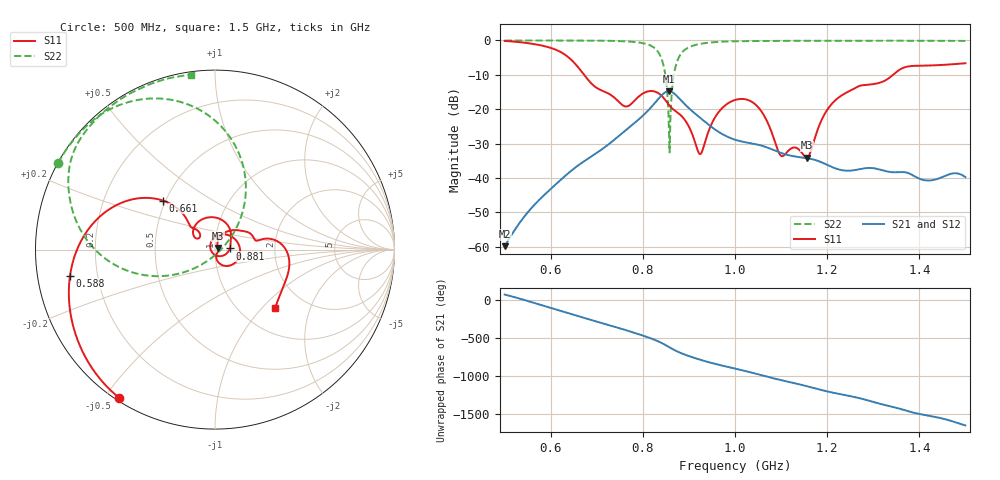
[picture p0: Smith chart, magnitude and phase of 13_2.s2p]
! TOUCHSTONE file generated by CST MICROWAVE STUDIO
! Date and time: Fri Oct  2 16:31:17 2020
! Project name: Scenario_1_Free_Space_out_of_line.cst
! Parameters = {Lambda=346.42; Step_1=17.321; dy1=139.548; dx1=346; L_HA=400; MT=2.54; Rad_Dielectric=30; Rad_Lower=7.3; Rad_Upper=30; a_HA=580; a_WG=246; b_HA=500; b_WG=121; c_HA=0; c_WG=187; d_feed=85; h_feed=15; h_lower=18; h_upper=40}
! Header version: 2018
! Port assignment regex: !\s*Touchstone port\s*([0-9]+)\s*=\s*(CST MWS port|CST DS port)\s*([0-9]+|Zmin|Zmax)\s*\(\"(.*)\"\)(\s*mode\s*([0-9]+))?.*
! Touchstone port assignment:
! Touchstone port 1 = CST MWS port 1 ("")
! Touchstone port 2 = CST MWS port 2 ("")
# GHz S DB R 50
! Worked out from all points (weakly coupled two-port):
!   1003 points, 500 MHz to 1.5 GHz, reference 50 ohm
!   highest |S21| = -14.75 dB at 856 MHz (marker M1); lowest = -59.9 dB at 500 MHz (marker M2)
!   lowest |S11| = -34.1 dB at 1.156 GHz (marker M3), VSWR 1.04, Z = 51.8 + j0.911 ohm
!   |S11| at or under -10 dB: 672.5 MHz to 1.343 GHz (670.4 MHz wide, 66.5 % of centre)
!   |S22| runs from -32.6 to 0.0 dB; largest |S21 - S12| = 1.4e-05
!   S11 on the Smith chart (normalised r, x): 500 MHz: 0.01, -0.55; 588 MHz: 0.10, -0.09; 661 MHz: 0.49, +0.31; 881 MHz: 1.18, +0.02; 1.5 GHz: 1.43, -1.18
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0.5  -0.15 -122.8  -59.85 72.7  -59.85 72.7  -0.01 151.1
0.588  -1.71 -169.8  -44.71 -81.3  -44.71 -81.3  -0.02 145.0
0.661  -8.03 136.6  -36.23 145.4  -36.23 145.4  -0.04 138.9
0.667  -9.05 134.0  -35.66 134.3  -35.66 134.3  -0.04 138.3
0.761  -19.17 139.9  -26.34 -32.9  -26.34 -32.9  -0.26 125.0
0.812  -14.80 116.9  -20.30 -134.0  -20.30 -134.0  -1.22 106.2
0.834  -15.37 77.9  -16.97 173.1  -16.97 173.1  -3.53 85.3
0.847  -17.05 53.7  -15.24 133.3  -15.24 133.3  -8.61 62.4
0.856  -18.65 40.2  -14.75 102.1  -14.75 102.1  -23.01 28.1
0.861  -19.44 34.1  -14.87 84.5  -14.87 84.5  -18.89 -132.1
0.868  -20.27 25.6  -15.44 61.1  -15.44 61.1  -9.50 -153.8
0.881  -21.60 4.6  -17.16 23.8  -17.16 23.8  -4.25 -175.3
0.925  -33.05 -154.8  -22.58 -69.0  -22.58 -69.0  -0.99 156.3
0.96  -21.67 75.2  -26.21 -127.7  -26.21 -127.7  -0.45 147.1
1  -17.32 10.0  -28.88 175.3  -28.88 175.3  -0.24 140.2
1.052  -19.70 -60.3  -30.40 97.0  -30.40 97.0  -0.17 134.1
1.1  -33.57 -47.9  -32.72 22.9  -32.72 22.9  -0.12 129.7
1.156  -34.15 26.6  -34.25 -57.5  -34.25 -57.5  -0.10 125.0
1.167  -31.14 61.0  -34.53 -75.0  -34.53 -75.0  -0.10 124.2
1.218  -17.38 51.6  -37.23 -150.1  -37.23 -150.1  -0.08 120.2
1.334  -10.96 12.3  -38.22 40.8  -38.22 40.8  -0.09 111.5
1.5  -6.63 -43.9  -39.78 144.3  -39.78 144.3  -0.14 97.9
